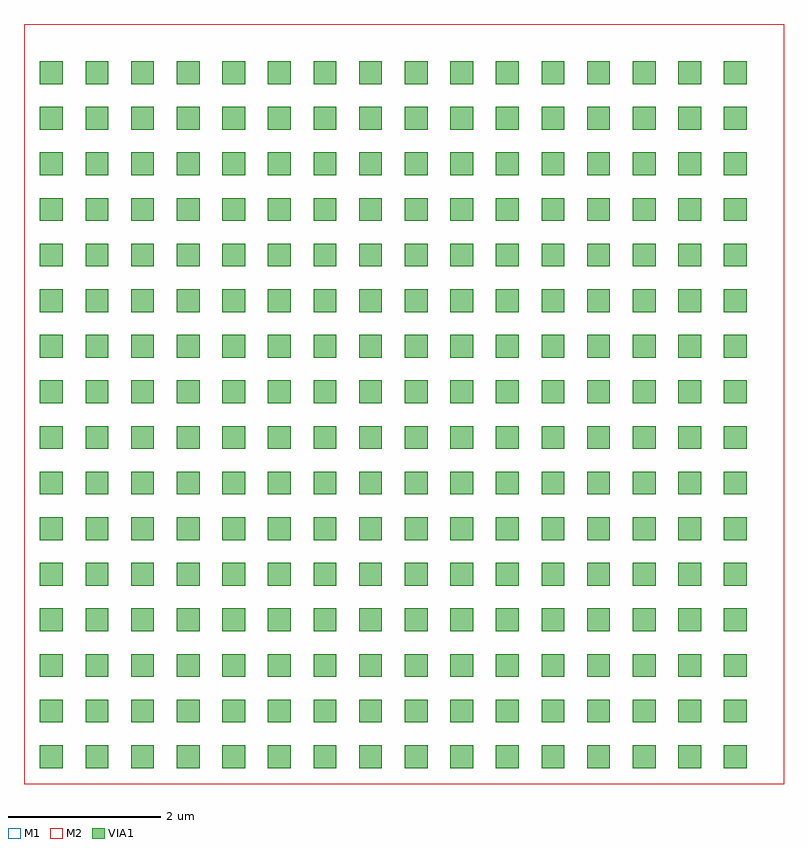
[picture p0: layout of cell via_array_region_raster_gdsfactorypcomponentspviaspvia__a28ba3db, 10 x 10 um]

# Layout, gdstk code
import gdstk
lib = gdstk.Library(unit=1e-6, precision=1e-09)
def R(c, l, rs):  # rectangles x0, y0, x1, y1
    for r in rs: c.add(gdstk.rectangle(r[:2], r[2:], *l))
def A(c, l, x, y, w, h, nx, ny, dx, dy):  # array of equal rectangles
    R(c, l, [(x+i*dx, y+j*dy, x+i*dx+w, y+j*dy+h) for i in range(nx) for j in range(ny)])
def P(c, l, *ps):  # polygons
    for p in ps: c.add(gdstk.Polygon(p, *l))
M1 = (41, 0)
VIA1 = (44, 0)
M2 = (45, 0)

via_array_region_raster_ = lib.new_cell('via_array_region_raster_gdsfactorypcomponentspviaspvia__a28ba3db')
P(via_array_region_raster_, M1, [(-5,-5),(-5,-5),(-5,5),(5,5),(5,-5)])
A(via_array_region_raster_, VIA1, -4.79, -4.79, 0.3, 0.3, 16, 16, 0.6, 0.6)
P(via_array_region_raster_, M2, [(-5,-5),(-5,-5),(-5,5),(5,5),(5,-5)])

lib.write_gds('via_array_region_raster_gdsfactorypcomponentspviaspvia__a28ba3db.gds')
